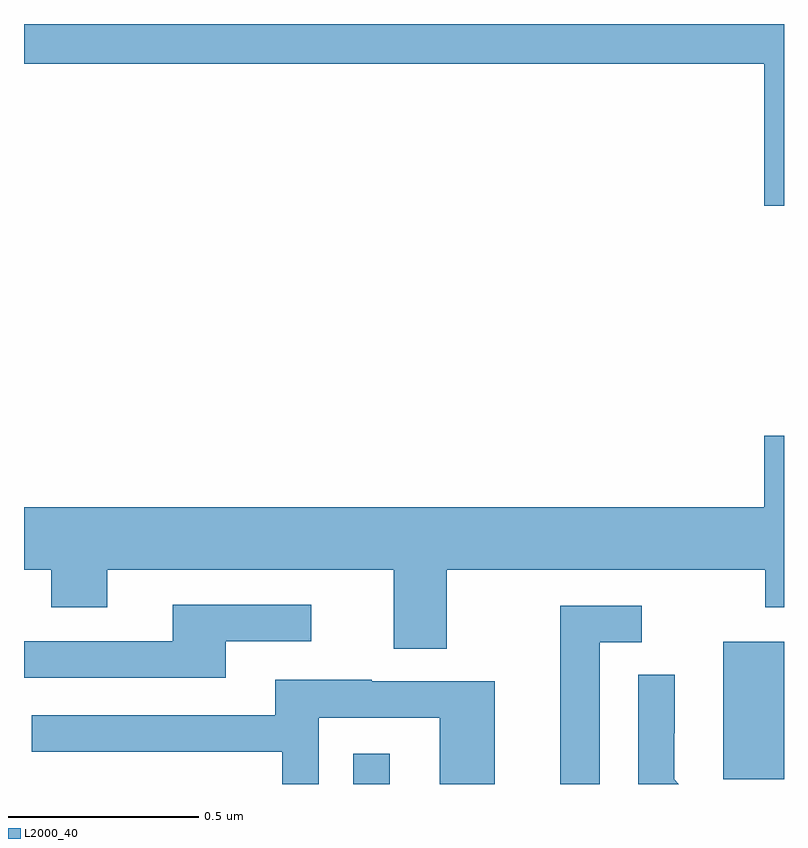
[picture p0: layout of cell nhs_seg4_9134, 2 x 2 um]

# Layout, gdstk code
import gdstk
lib = gdstk.Library(unit=1e-6, precision=1e-09)
def R(c, l, rs):  # rectangles x0, y0, x1, y1
    for r in rs: c.add(gdstk.rectangle(r[:2], r[2:], *l))
def P(c, l, *ps):  # polygons
    for p in ps: c.add(gdstk.Polygon(p, *l))
L2000_40 = (2000, 40)

nhs_seg4_9134 = lib.new_cell('nhs_seg4_9134')
R(nhs_seg4_9134, L2000_40, [(223.866,818.9,223.963,818.98), (224.84,818.913,225,819.274)])
P(nhs_seg4_9134, L2000_40, [(225,820.9),(223,820.9),(223,820.796),(224.948,820.796),(224.948,820.422),(225,820.422)],
  [(224.113,819.464),(224.95,819.464),(224.95,819.365),(225,819.365),(225,819.817),(224.948,819.817),(224.948,819.628),(223,819.628),(223,819.464),(223.072,819.464),(223.072,819.365),(223.219,819.365),(223.219,819.464),(223.973,819.464),(223.973,819.256),(224.113,819.256)],
  [(223.531,819.276),(223.756,819.276),(223.756,819.372),(223.391,819.372),(223.391,819.276),(223,819.276),(223,819.18),(223.531,819.18)],
  [(224.515,819.273),(224.626,819.273),(224.626,819.369),(224.411,819.369),(224.411,818.9),(224.515,818.9)],
  [(224.711,818.912),(224.711,819.034),(224.712,819.034),(224.712,819.188),(224.616,819.188),(224.616,818.9),(224.723,818.9)],
  [(223.776,819.075),(224.094,819.075),(224.094,818.9),(224.239,818.9),(224.239,819.171),(223.915,819.171),(223.915,819.175),(223.661,819.175),(223.661,819.081),(223.021,819.081),(223.021,818.985),(223.68,818.985),(223.68,818.9),(223.776,818.9)])

lib.write_gds('nhs_seg4_9134.gds')
